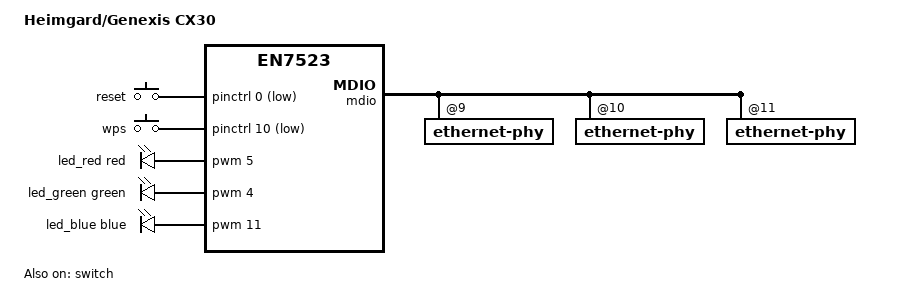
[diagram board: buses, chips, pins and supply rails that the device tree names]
/* SPDX-License-Identifier: GPL-2.0-or-later OR MIT */
/dts-v1/;

#include "en7523-genexis.dtsi"

/ {
	model = "Heimgard/Genexis CX30";
	compatible = "genexis,pixly_r1", "airoha,en7523";

	aliases {
		led-boot = &led_red;
		led-failsafe = &led_red;
		led-upgrade = &led_blue;
		led-running = &led_green;
	};

	keys {
		compatible = "gpio-keys-polled";
		poll-interval = <100>;

		reset {
			label = "reset";
			linux,code = <KEY_RESTART>;
			gpios = <&pinctrl 0 GPIO_ACTIVE_LOW>;
			debounce-interval = <60>;
		};

		wps {
			label = "wps";
			linux,code = <KEY_WPS_BUTTON>;
			gpios = <&pinctrl 10 GPIO_ACTIVE_LOW>;
			debounce-interval = <60>;
		};
	};

	leds {
		compatible = "pwm-leds";

		led_red: led@0 {
			function = LED_FUNCTION_STATUS;
			color = <LED_COLOR_ID_RED>;
			function-enumerator = <5>;
			pwms = <&pwm 5 4000000 GPIO_ACTIVE_LOW>;
			max-brightness = <255>;
			active-low;
		};

		led_green: led@1 {
			function = LED_FUNCTION_STATUS;
			color = <LED_COLOR_ID_GREEN>;
			function-enumerator = <4>;
			pwms = <&pwm 4 4000000 GPIO_ACTIVE_LOW>;
			max-brightness = <255>;
			active-low;
		};

		led_blue: led@2 {
			function = LED_FUNCTION_STATUS;
			color = <LED_COLOR_ID_BLUE>;
			function-enumerator = <11>;
			pwms = <&pwm 11 4000000 GPIO_ACTIVE_LOW>;
			max-brightness = <255>;
			active-low;
		};
	};
};

&switch {
	status = "okay";
	ports {
		port@1 {
			label = "lan1";
			status = "okay";
		};

		port@2 {
			label = "lan2";
			status = "okay";
		};

		port@3 {
			label = "wan";
			status = "okay";
		};
	};

	mdio {
		ethernet-phy@9 {
			status = "okay";
		};

		ethernet-phy@10 {
			status = "okay";
		};

		ethernet-phy@11 {
			status = "okay";
		};
	};
};
